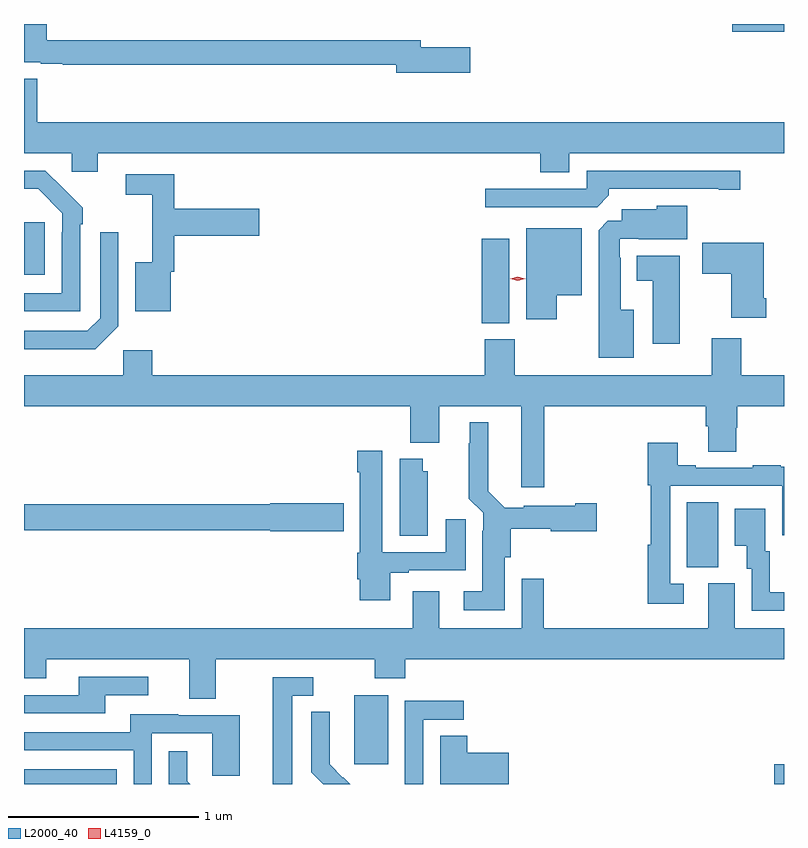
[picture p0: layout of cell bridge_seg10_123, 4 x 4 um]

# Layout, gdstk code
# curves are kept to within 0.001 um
import gdstk
lib = gdstk.Library(unit=1e-6, precision=1e-09)
def R(c, l, rs):  # rectangles x0, y0, x1, y1
    for r in rs: c.add(gdstk.rectangle(r[:2], r[2:], *l))
def P(c, l, *ps):  # polygons
    for p in ps: c.add(gdstk.Polygon(p, *l))
L2000_40 = (2000, 40)
L4159_0 = (4159, 0)

bridge_seg10_123 = lib.new_cell('bridge_seg10_123')
R(bridge_seg10_123, L2000_40, [(371.177,1282.344,371.664,1282.422), (375.126,1282.344,375.177,1282.448), (372.914,1282.449,373.093,1282.81), (374.666,1283.485,374.83,1283.828), (373.586,1284.769,373.732,1285.213), (371.177,1285.025,371.287,1285.3), (374.904,1286.302,375.177,1286.344)])
P(bridge_seg10_123, L2000_40, [(373.525,1286.222),(373.264,1286.222),(373.264,1286.258),(371.297,1286.258),(371.297,1286.344),(371.177,1286.344),(371.177,1286.142),(371.266,1286.142),(371.266,1286.136),(371.38,1286.136),(371.38,1286.13),(373.136,1286.13),(373.136,1286.087),(373.525,1286.087)],
  [(374.047,1285.664),(375.177,1285.664),(375.177,1285.828),(371.246,1285.828),(371.246,1286.057),(371.177,1286.057),(371.177,1285.664),(371.427,1285.664),(371.427,1285.566),(371.566,1285.566),(371.566,1285.664),(373.895,1285.664),(373.895,1285.565),(374.047,1285.565)],
  [(374.255,1285.442),(374.255,1285.476),(374.834,1285.476),(374.834,1285.471),(374.947,1285.471),(374.947,1285.572),(374.139,1285.572),(374.139,1285.476),(373.605,1285.476),(373.605,1285.38),(374.193,1285.38)],
  [(371.472,1285.289),(371.487,1285.289),(371.487,1285.377),(371.29,1285.572),(371.177,1285.572),(371.177,1285.476),(371.251,1285.476),(371.379,1285.347),(371.379,1285.247),(371.376,1285.247),(371.376,1284.927),(371.177,1284.927),(371.177,1284.831),(371.472,1284.831)],
  [(371.95,1285.041),(371.969,1285.041),(371.969,1285.229),(372.415,1285.229),(372.415,1285.371),(371.969,1285.371),(371.969,1285.554),(371.712,1285.554),(371.712,1285.446),(371.852,1285.446),(371.852,1285.09),(371.762,1285.09),(371.762,1284.833),(371.95,1284.833)],
  [(374.386,1284.841),(374.317,1284.841),(374.317,1285.115),(374.313,1285.115),(374.313,1285.215),(374.413,1285.215),(374.413,1285.211),(374.668,1285.211),(374.668,1285.387),(374.508,1285.387),(374.508,1285.369),(374.324,1285.369),(374.324,1285.308),(374.25,1285.308),(374.201,1285.259),(374.201,1284.587),(374.386,1284.587)],
  [(373.981,1284.917),(374.113,1284.917),(374.113,1285.27),(373.82,1285.27),(373.82,1284.789),(373.981,1284.789)],
  [(371.673,1284.753),(371.673,1285.249),(371.577,1285.249),(371.577,1284.795),(371.511,1284.729),(371.177,1284.729),(371.177,1284.632),(371.552,1284.632)],
  [(375.083,1284.901),(375.07,1284.901),(375.07,1285.192),(374.748,1285.192),(374.748,1285.03),(374.9,1285.03),(374.9,1284.797),(375.083,1284.797)],
  [(374.629,1285.123),(374.402,1285.123),(374.402,1284.992),(374.486,1284.992),(374.486,1284.66),(374.629,1284.66)],
  [(373.916,1284.332),(374.765,1284.332),(374.765,1284.226),(374.777,1284.226),(374.777,1284.094),(374.925,1284.094),(374.925,1284.219),(374.93,1284.219),(374.93,1284.332),(375.177,1284.332),(375.177,1284.496),(374.951,1284.496),(374.951,1284.691),(374.798,1284.691),(374.798,1284.496),(373.761,1284.496),(373.761,1284.684),(373.601,1284.684),(373.601,1284.496),(371.852,1284.496),(371.852,1284.628),(371.7,1284.628),(371.7,1284.496),(371.177,1284.496),(371.177,1284.332),(373.211,1284.332),(373.211,1284.14),(373.363,1284.14),(373.363,1284.332),(373.793,1284.332),(373.793,1283.907),(373.916,1283.907)],
  [(373.708,1283.538),(373.739,1283.538),(373.739,1283.687),(373.95,1283.687),(373.95,1283.675),(374.191,1283.675),(374.191,1283.822),(374.078,1283.822),(374.078,1283.809),(373.806,1283.809),(373.806,1283.797),(373.707,1283.797),(373.621,1283.884),(373.621,1284.247),(373.523,1284.247),(373.523,1284.137),(373.519,1284.137),(373.519,1283.846),(373.593,1283.772),(373.593,1283.678),(373.589,1283.678),(373.589,1283.359),(373.491,1283.359),(373.491,1283.258),(373.708,1283.258)],
  [(374.65,1283.397),(374.577,1283.397),(374.577,1283.913),(375.168,1283.913),(375.168,1283.652),(375.177,1283.652),(375.177,1284.015),(375.161,1284.015),(375.161,1284.022),(375.013,1284.022),(375.013,1284.009),(374.713,1284.009),(374.713,1284.022),(374.617,1284.022),(374.617,1284.139),(374.461,1284.139),(374.461,1283.916),(374.476,1283.916),(374.476,1283.604),(374.461,1283.604),(374.461,1283.292),(374.65,1283.292)],
  [(373.105,1283.457),(373.201,1283.457),(373.201,1283.469),(373.501,1283.469),(373.501,1283.737),(373.397,1283.737),(373.397,1283.565),(373.063,1283.565),(373.063,1284.097),(372.932,1284.097),(372.932,1283.984),(372.944,1283.984),(372.944,1283.562),(372.932,1283.562),(372.932,1283.422),(372.944,1283.422),(372.944,1283.31),(373.105,1283.31)],
  [(373.303,1283.991),(373.276,1283.991),(373.276,1284.055),(373.154,1284.055),(373.154,1283.65),(373.303,1283.65)],
  [(372.859,1283.822),(372.474,1283.822),(372.474,1283.816),(371.177,1283.816),(371.177,1283.68),(372.474,1283.68),(372.474,1283.675),(372.859,1283.675)],
  [(375.177,1283.352),(375.103,1283.352),(375.103,1283.568),(375.079,1283.568),(375.079,1283.794),(374.918,1283.794),(374.918,1283.597),(374.981,1283.597),(374.981,1283.478),(375.006,1283.478),(375.006,1283.256),(375.177,1283.256)],
  [(372.187,1283),(373.024,1283),(373.024,1282.901),(373.184,1282.901),(373.184,1283),(375.177,1283),(375.177,1283.164),(374.917,1283.164),(374.917,1283.4),(374.777,1283.4),(374.777,1283.164),(373.913,1283.164),(373.913,1283.425),(373.797,1283.425),(373.797,1283.164),(373.363,1283.164),(373.363,1283.359),(373.223,1283.359),(373.223,1283.164),(371.177,1283.164),(371.177,1282.901),(371.293,1282.901),(371.293,1283),(372.047,1283),(372.047,1282.792),(372.187,1282.792)],
  [(371.605,1282.812),(371.83,1282.812),(371.83,1282.908),(371.465,1282.908),(371.465,1282.812),(371.177,1282.812),(371.177,1282.716),(371.605,1282.716)],
  [(372.589,1282.809),(372.7,1282.809),(372.7,1282.905),(372.485,1282.905),(372.485,1282.344),(372.589,1282.344)],
  [(373.278,1282.683),(373.492,1282.683),(373.492,1282.782),(373.182,1282.782),(373.182,1282.352),(373.18,1282.352),(373.18,1282.344),(373.278,1282.344)],
  [(372.858,1282.38),(372.855,1282.377),(372.785,1282.448),(372.785,1282.57),(372.786,1282.57),(372.786,1282.724),(372.69,1282.724),(372.69,1282.406),(372.752,1282.344),(372.894,1282.344)],
  [(371.85,1282.611),(372.168,1282.611),(372.168,1282.387),(372.313,1282.387),(372.313,1282.707),(371.989,1282.707),(371.989,1282.711),(371.735,1282.711),(371.735,1282.617),(371.177,1282.617),(371.177,1282.521),(371.754,1282.521),(371.754,1282.344),(371.85,1282.344)],
  [(373.729,1282.508),(373.511,1282.508),(373.511,1282.598),(373.367,1282.598),(373.367,1282.344),(373.729,1282.344)],
  [(372.037,1282.359),(372.037,1282.516),(371.94,1282.516),(371.94,1282.344),(372.052,1282.344)])
P(bridge_seg10_123, L4159_0, [(373.776,1284.993),(373.737,1285.002),(373.737,1285.002),(373.737,1285.002),(373.775,1285.013),(373.814,1285.004),(373.814,1285.004),(373.814,1285.003)])

lib.write_gds('bridge_seg10_123.gds')
